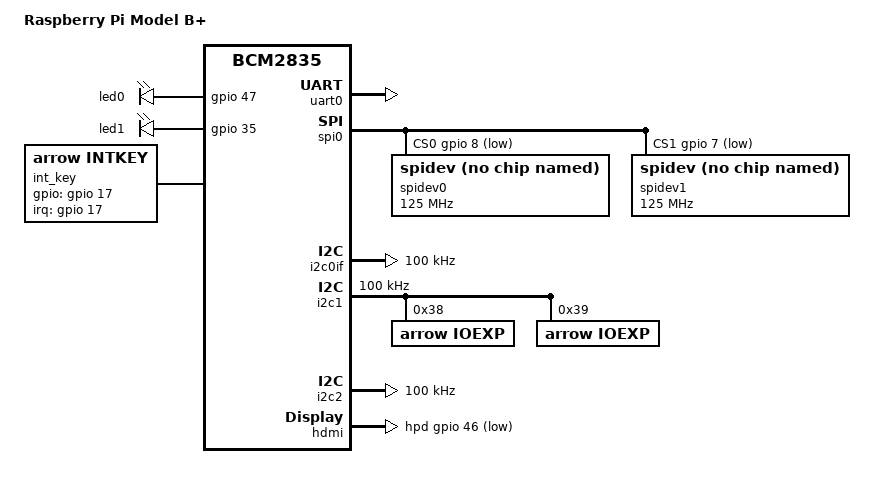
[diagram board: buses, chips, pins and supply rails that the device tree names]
/dts-v1/;

#include "bcm2708.dtsi"
#include "bcm2708-rpi.dtsi"
#include "bcm283x-rpi-smsc9514.dtsi"
#include "bcm283x-rpi-csi1-2lane.dtsi"
#include "bcm283x-rpi-i2c0mux_0_28.dtsi"

/ {
	compatible = "raspberrypi,model-b-plus", "brcm,bcm2835";
	model = "Raspberry Pi Model B+";
};

&gpio {
	spi0_pins: spi0_pins {
		brcm,pins = <9 10 11>;
		brcm,function = <4>; /* alt0 */
	};

	spi0_cs_pins: spi0_cs_pins {
		brcm,pins = <8 7>;
		brcm,function = <1>; /* output */
	};

	i2c0_pins: i2c0 {
		brcm,pins = <0 1>;
		brcm,function = <4>;
	};

	i2c1_pins: i2c1 {
		brcm,pins = <2 3>;
		brcm,function = <4>;
	};

	i2s_pins: i2s {
		brcm,pins = <18 19 20 21>;
		brcm,function = <4>; /* alt0 */
	};

	audio_pins: audio_pins {
		brcm,pins = <40 45>;
		brcm,function = <4>;
	};

	led_pins: led_pins {
		brcm,pins = <11 6 26>;
		brcm,function = <1>;
		brcm,pull = <1 1 1>;
	};

	key_pin: key_pin {
		brcm,pins = <17>;
		brcm,function = <0>;
		brcm,pull = <1>;
	};
};

&uart0 {
	status = "okay";
};

&spi0 {
	pinctrl-names = "default";
	pinctrl-0 = <&spi0_pins &spi0_cs_pins>;
	cs-gpios = <&gpio 8 1>, <&gpio 7 1>;

	spidev0: spidev@0{
		compatible = "spidev";
		reg = <0>;	/* CE0 */
		#address-cells = <1>;
		#size-cells = <0>;
		spi-max-frequency = <125000000>;
	};

	spidev1: spidev@1{
		compatible = "spidev";
		reg = <1>;	/* CE1 */
		#address-cells = <1>;
		#size-cells = <0>;
		spi-max-frequency = <125000000>;
	};
};

&i2c0if {
	clock-frequency = <100000>;
};

&i2c1 {
	pinctrl-names = "default";
	pinctrl-0 = <&i2c1_pins>;
	clock-frequency = <100000>;
	status = "okay";

	ioexp@38{
		compatible = "arrow,ioexp";
		reg = <0x38>;
	};

	ioexp@39{
		compatible = "arrow,ioexp";
		reg = <0x39>;
	};
};

&i2c2 {
	clock-frequency = <100000>;
};

&i2s {
	pinctrl-names = "default";
	pinctrl-0 = <&i2s_pins>;
};

&leds {
	act_led: act {
		label = "led0";
		linux,default-trigger = "mmc0";
		gpios = <&gpio 47 0>;
	};

	pwr_led: pwr {
		label = "led1";
		linux,default-trigger = "input";
		gpios = <&gpio 35 0>;
	};
};

&hdmi {
	hpd-gpios = <&gpio 46 GPIO_ACTIVE_LOW>;
};

&audio {
	pinctrl-names = "default";
	pinctrl-0 = <&audio_pins>;
};

&soc {
	hellokeys {
		compatible = "arrow,hellokeys";
	};

	ledred {
		compatible = "arrow,RGBleds";
		label = "ledred";
		pinctrl-0 = <&led_pins>;
	};

	ledgreen {
		compatible = "arrow,RGBleds";
		label = "ledgreen";
	};

	ledyellow {
		compatible = "arrow,RGBleds";
		label = "ledyellow";
	};

	RGBclassleds {
		compatible = "arrow,RGBclassleds";
		reg = <0x20200000 0xb4>;
		pinctrl-names = "default";
		pinctrl-0 = <&led_pins>;

		red {
			label = "red";
		};

		green {
			label = "green";
		};

		yellow {
			label = "yellow";
		};
	};

	UIO {
		compatible = "arrow,UIO";
		reg = <0x20200000 0x1000>;
		pinctrl-names = "default";
		pinctrl-0 = <&led_pins>;
	};

	int_key {
		compatible = "arrow,intkey";
		pinctrl-names = "default";
		pinctrl-0 = <&key_pin>;
		gpios = <&gpio 17 0>;
		interrupts = <17 1>;
		interrupt-parent = <&gpio>;
	};
};

/ {
	__overrides__ {
		act_led_gpio = <&act_led>,"gpios:4";
		act_led_activelow = <&act_led>,"gpios:8";
		act_led_trigger = <&act_led>,"linux,default-trigger";

		pwr_led_gpio = <&pwr_led>,"gpios:4";
		pwr_led_activelow = <&pwr_led>,"gpios:8";
		pwr_led_trigger = <&pwr_led>,"linux,default-trigger";
	};
};
